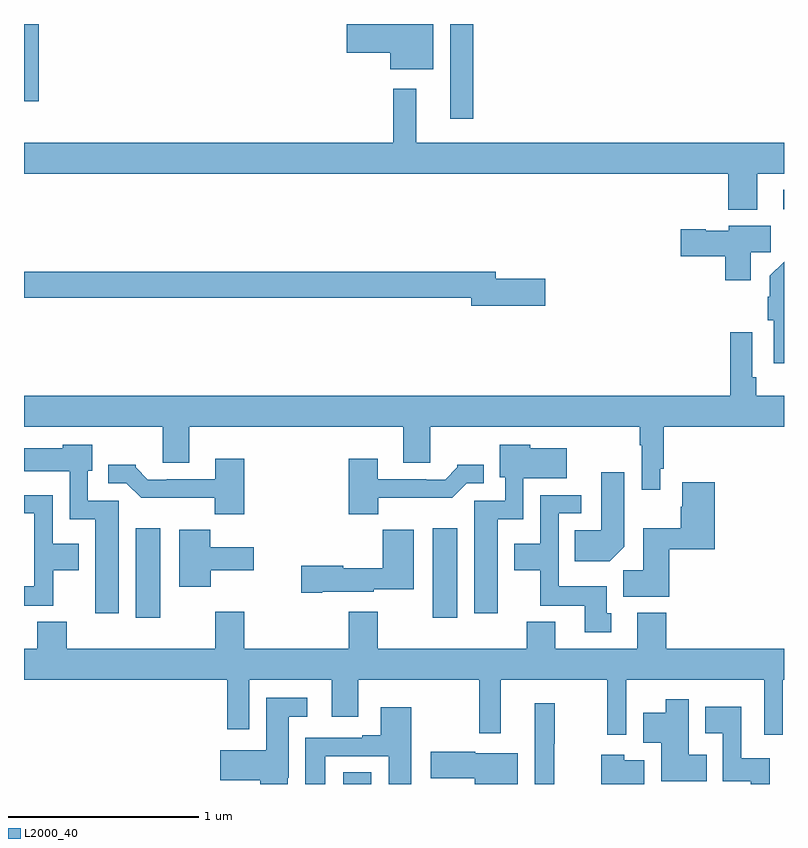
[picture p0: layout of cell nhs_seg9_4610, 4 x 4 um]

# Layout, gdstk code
import gdstk
lib = gdstk.Library(unit=1e-6, precision=1e-09)
def R(c, l, rs):  # rectangles x0, y0, x1, y1
    for r in rs: c.add(gdstk.rectangle(r[:2], r[2:], *l))
def P(c, l, *ps):  # polygons
    for p in ps: c.add(gdstk.Polygon(p, *l))
L2000_40 = (2000, 40)

nhs_seg9_4610 = lib.new_cell('nhs_seg9_4610')
R(nhs_seg9_4610, L2000_40, [(376.679,1234.5,376.828,1234.562), (375.587,1235.376,375.718,1235.845), (377.15,1235.376,377.281,1235.845), (378.995,1237.524,379,1237.627), (377.243,1238.001,377.365,1238.5), (375,1238.093,375.077,1238.5)])
P(nhs_seg9_4610, L2000_40, [(377.155,1238.5),(376.698,1238.5),(376.698,1238.35),(376.928,1238.35),(376.928,1238.261),(377.155,1238.261)],
  [(378.859,1237.712),(379,1237.712),(379,1237.876),(377.065,1237.876),(377.065,1238.158),(376.944,1238.158),(376.944,1237.876),(375,1237.876),(375,1237.712),(378.707,1237.712),(378.707,1237.523),(378.859,1237.523)],
  [(378.826,1237.3),(378.931,1237.3),(378.931,1237.438),(378.708,1237.438),(378.708,1237.411),(378.588,1237.411),(378.588,1237.419),(378.456,1237.419),(378.456,1237.277),(378.692,1237.277),(378.692,1237.152),(378.826,1237.152)],
  [(379,1237.248),(378.926,1237.174),(378.926,1237.064),(378.914,1237.064),(378.914,1236.942),(378.947,1236.942),(378.947,1236.714),(379,1236.714)],
  [(377.743,1237.16),(377.482,1237.16),(377.482,1237.196),(375,1237.196),(375,1237.06),(377.354,1237.06),(377.354,1237.018),(377.743,1237.018)],
  [(378.348,1236.16),(378.368,1236.16),(378.368,1236.38),(379,1236.38),(379,1236.544),(378.854,1236.544),(378.854,1236.64),(378.834,1236.64),(378.834,1236.877),(378.718,1236.877),(378.718,1236.544),(375,1236.544),(375,1236.38),(375.731,1236.38),(375.731,1236.19),(375.871,1236.19),(375.871,1236.38),(376.997,1236.38),(376.997,1236.19),(377.137,1236.19),(377.137,1236.38),(378.24,1236.38),(378.24,1236.284),(378.252,1236.284),(378.252,1236.048),(378.348,1236.048)],
  [(375.499,1235.991),(375.336,1235.991),(375.336,1236.15),(375.358,1236.15),(375.358,1236.286),(375.204,1236.286),(375.204,1236.268),(375,1236.268),(375,1236.146),(375.24,1236.146),(375.24,1235.894),(375.374,1235.894),(375.374,1235.4),(375.499,1235.4)],
  [(377.494,1235.894),(377.628,1235.894),(377.628,1236.11),(377.857,1236.11),(377.857,1236.268),(377.664,1236.268),(377.664,1236.286),(377.504,1236.286),(377.504,1236.114),(377.532,1236.114),(377.532,1235.991),(377.369,1235.991),(377.369,1235.4),(377.494,1235.4)],
  [(376.16,1236.211),(376.007,1236.211),(376.007,1236.105),(375.751,1236.105),(375.751,1236.102),(375.652,1236.102),(375.588,1236.166),(375.588,1236.181),(375.444,1236.181),(375.444,1236.084),(375.537,1236.084),(375.616,1236.006),(376.005,1236.006),(376.005,1235.921),(376.16,1235.921)],
  [(376.864,1236.006),(377.253,1236.006),(377.331,1236.084),(377.419,1236.084),(377.419,1236.181),(377.28,1236.181),(377.28,1236.166),(377.216,1236.102),(377.117,1236.102),(377.117,1236.105),(376.861,1236.105),(376.861,1236.211),(376.709,1236.211),(376.709,1235.921),(376.864,1235.921)],
  [(378.16,1235.75),(378.16,1236.142),(378.038,1236.142),(378.038,1235.836),(377.899,1235.836),(377.899,1235.672),(378.082,1235.672)],
  [(378.395,1235.735),(378.635,1235.735),(378.635,1236.088),(378.464,1236.088),(378.464,1235.96),(378.457,1235.96),(378.457,1235.845),(378.26,1235.845),(378.26,1235.624),(378.155,1235.624),(378.155,1235.486),(378.395,1235.486)],
  [(375.153,1235.624),(375.289,1235.624),(375.289,1235.764),(375.15,1235.764),(375.15,1236.021),(375,1236.021),(375,1235.925),(375.054,1235.925),(375.054,1235.542),(375,1235.542),(375,1235.438),(375.153,1235.438)],
  [(378.091,1235.4),(378.067,1235.4),(378.067,1235.542),(377.814,1235.542),(377.814,1235.925),(377.932,1235.925),(377.932,1236.021),(377.718,1236.021),(377.718,1235.764),(377.579,1235.764),(377.579,1235.624),(377.716,1235.624),(377.716,1235.438),(377.951,1235.438),(377.951,1235.298),(378.091,1235.298)],
  [(376.57,1235.513),(376.842,1235.513),(376.842,1235.525),(377.05,1235.525),(377.05,1235.839),(376.888,1235.839),(376.888,1235.635),(376.68,1235.635),(376.68,1235.648),(376.458,1235.648),(376.458,1235.506),(376.57,1235.506)],
  [(375.982,1235.624),(376.21,1235.624),(376.21,1235.746),(375.98,1235.746),(375.98,1235.839),(375.818,1235.839),(375.818,1235.538),(375.982,1235.538)],
  [(378.171,1235.048),(378.897,1235.048),(378.897,1234.758),(378.993,1234.758),(378.993,1235.048),(379,1235.048),(379,1235.212),(378.38,1235.212),(378.38,1235.401),(378.227,1235.401),(378.227,1235.212),(377.797,1235.212),(377.797,1235.353),(377.645,1235.353),(377.645,1235.212),(376.861,1235.212),(376.861,1235.407),(376.709,1235.407),(376.709,1235.212),(376.16,1235.212),(376.16,1235.407),(376.007,1235.407),(376.007,1235.212),(375.224,1235.212),(375.224,1235.353),(375.071,1235.353),(375.071,1235.212),(375,1235.212),(375,1235.048),(376.069,1235.048),(376.069,1234.788),(376.185,1234.788),(376.185,1235.048),(376.619,1235.048),(376.619,1234.854),(376.759,1234.854),(376.759,1235.048),(377.395,1235.048),(377.395,1234.767),(377.509,1234.767),(377.509,1235.048),(378.07,1235.048),(378.07,1234.758),(378.171,1234.758)],
  [(376.389,1234.534),(376.393,1234.534),(376.393,1234.853),(376.492,1234.853),(376.492,1234.954),(376.274,1234.954),(376.274,1234.678),(376.032,1234.678),(376.032,1234.52),(376.244,1234.52),(376.244,1234.5),(376.389,1234.5)],
  [(378.593,1234.654),(378.499,1234.654),(378.499,1234.945),(378.377,1234.945),(378.377,1234.876),(378.26,1234.876),(378.26,1234.718),(378.353,1234.718),(378.353,1234.514),(378.593,1234.514)],
  [(377.791,1234.711),(377.794,1234.711),(377.794,1234.924),(377.687,1234.924),(377.687,1234.5),(377.791,1234.5)],
  [(378.924,1234.636),(378.774,1234.636),(378.774,1234.906),(378.585,1234.906),(378.585,1234.766),(378.678,1234.766),(378.678,1234.514),(378.826,1234.514),(378.826,1234.5),(378.924,1234.5)],
  [(376.585,1234.647),(376.919,1234.647),(376.919,1234.5),(377.038,1234.5),(377.038,1234.903),(376.877,1234.903),(376.877,1234.756),(376.781,1234.756),(376.781,1234.743),(376.481,1234.743),(376.481,1234.5),(376.585,1234.5)],
  [(377.599,1234.663),(377.376,1234.663),(377.376,1234.671),(377.142,1234.671),(377.142,1234.529),(377.372,1234.529),(377.372,1234.5),(377.599,1234.5)],
  [(378.265,1234.624),(378.16,1234.624),(378.16,1234.654),(378.038,1234.654),(378.038,1234.5),(378.265,1234.5)])

lib.write_gds('nhs_seg9_4610.gds')
